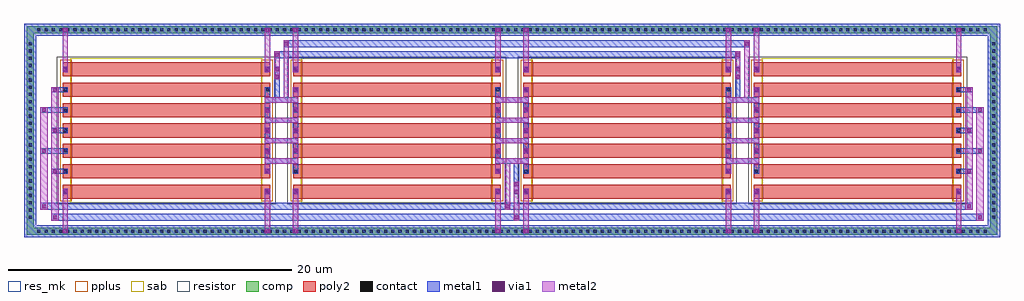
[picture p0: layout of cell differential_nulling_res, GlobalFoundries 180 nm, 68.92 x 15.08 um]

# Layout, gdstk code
import gdstk
lib = gdstk.Library(unit=1e-6, precision=5e-09)
def R(c, l, rs):  # rectangles x0, y0, x1, y1
    for r in rs: c.add(gdstk.rectangle(r[:2], r[2:], *l))
def A(c, l, x, y, w, h, nx, ny, dx, dy):  # array of equal rectangles
    R(c, l, [(x+i*dx, y+j*dy, x+i*dx+w, y+j*dy+h) for i in range(nx) for j in range(ny)])
comp = (22, 0)
poly2 = (30, 0)
pplus = (31, 0)
contact = (33, 0)
metal1 = (34, 0)
via1 = (35, 0)
metal2 = (36, 0)
sab = (49, 0)
resistor = (62, 0)
res_mk = (110, 5)

res_13p37u = lib.new_cell('res_13p37u')
R(res_13p37u, poly2, [(0.4,0.4,15.05,1.4)])
R(res_13p37u, pplus, [(0.22,0.22,1.04,1.58), (14.41,0.22,15.23,1.58)])
R(res_13p37u, contact, [(0.47,0.79,0.69,1.01), (14.76,0.79,14.98,1.01)])
R(res_13p37u, metal1, [(0.39,0.71,0.77,1.09), (14.68,0.71,15.06,1.09)])
R(res_13p37u, sab, [(0.94,0.12,14.51,1.68)])
R(res_13p37u, resistor, [(0,0,15.45,1.8)])
R(res_13p37u, res_mk, [(1.04,0.4,14.41,1.4)])

differential_nulling_res = lib.new_cell('differential_nulling_res')
R(differential_nulling_res, pplus, [(2.55,2.54,3.37,12.54), (16.74,2.54,17.56,12.54), (18.82,2.54,19.64,12.54), (33.01,2.54,33.83,12.54), (35.09,2.54,35.91,12.54), (49.28,2.54,50.1,12.54), (51.36,2.54,52.18,12.54), (65.55,2.54,66.37,12.54)])
A(differential_nulling_res, contact, 0.945, 0.32, 0.22, 0.22, 132, 2, 0.51, 14.22)
A(differential_nulling_res, contact, 0.32, 1.31, 0.22, 0.22, 1, 25, 0, 0.51)
A(differential_nulling_res, contact, 68.38, 1.31, 0.22, 0.22, 1, 25, 0, 0.51)
A(differential_nulling_res, via1, 2.06, 4.53, 0.26, 0.26, 1, 3, 0, 2.88)
A(differential_nulling_res, via1, 17.07, 4.53, 0.26, 0.26, 3, 1, 16.27, 0)
A(differential_nulling_res, via1, 66.6, 4.53, 0.26, 0.26, 1, 3, 0, 2.88)
A(differential_nulling_res, via1, 17.07, 5.97, 0.26, 0.26, 1, 3, 0, 1.44)
A(differential_nulling_res, via1, 19.05, 5.97, 0.26, 0.26, 1, 3, 0, 1.44)
A(differential_nulling_res, via1, 33.34, 5.97, 0.26, 0.26, 1, 3, 0, 1.44)
A(differential_nulling_res, via1, 35.32, 5.97, 0.26, 0.26, 1, 3, 0, 1.44)
A(differential_nulling_res, via1, 49.61, 5.97, 0.26, 0.26, 1, 3, 0, 1.44)
A(differential_nulling_res, via1, 51.59, 5.97, 0.26, 0.26, 1, 3, 0, 1.44)
A(differential_nulling_res, via1, 19.05, 10.29, 0.26, 0.26, 3, 1, 16.27, 0)
R(differential_nulling_res, via1, [(2.78,0.3,3.04,0.56), (17.07,0.3,17.33,0.56), (19.05,0.3,19.31,0.56), (33.34,0.3,33.6,0.56), (35.32,0.3,35.58,0.56), (49.61,0.3,49.87,0.56), (51.59,0.3,51.85,0.56), (65.88,0.3,66.14,0.56), (2.055,1.28,2.315,1.54), (34.66,1.28,34.92,1.54), (67.38,1.28,67.64,1.54), (1.28,2.06,1.54,2.32), (34,2.06,34.26,2.32), (66.605,2.06,66.865,2.32), (2.78,3.09,3.04,3.35), (17.07,3.09,17.33,3.35), (19.05,3.09,19.31,3.35), (33.34,3.09,33.6,3.35), (34.66,3.09,34.92,3.35), (35.32,3.09,35.58,3.35), (49.61,3.09,49.87,3.35), (51.59,3.09,51.85,3.35), (65.88,3.09,66.14,3.35), (34.66,3.61,34.92,3.87), (1.28,5.97,1.54,6.23), (67.38,5.97,67.64,6.23), (1.28,8.85,1.54,9.11), (67.38,8.85,67.64,9.11), (17.73,11.21,17.99,11.47), (50.27,11.21,50.53,11.47), (2.78,11.73,3.04,11.99), (17.07,11.73,17.33,11.99), (17.73,11.73,17.99,11.99), (19.05,11.73,19.31,11.99), (33.34,11.73,33.6,11.99), (35.32,11.73,35.58,11.99), (49.61,11.73,49.87,11.99), (50.27,11.73,50.53,11.99), (51.59,11.73,51.85,11.99), (65.88,11.73,66.14,11.99), (17.73,12.76,17.99,13.02), (50.27,12.76,50.53,13.02), (18.39,13.54,18.65,13.8), (50.93,13.54,51.19,13.8), (2.78,14.52,3.04,14.78), (17.07,14.52,17.33,14.78), (19.05,14.52,19.31,14.78), (33.34,14.52,33.6,14.78), (35.32,14.52,35.58,14.78), (49.61,14.52,49.87,14.78), (51.59,14.52,51.85,14.78), (65.88,14.52,66.14,14.78)])
differential_nulling_res.add(gdstk.FlexPath([(18.33,13.67),(51.25,13.67)], 0.5, ends="flush", simple_path=True, layer=34, datatype=0))  # metal1
differential_nulling_res.add(gdstk.FlexPath([(17.67,12.89),(50.59,12.89)], 0.5, ends="flush", simple_path=True, layer=34, datatype=0))  # metal1
differential_nulling_res.add(gdstk.FlexPath([(35.45,4.85),(35.45,5.38),(33.47,5.38),(33.47,5.91)], 0.38, ends="flush", simple_path=True, layer=34, datatype=0))  # metal1
differential_nulling_res.add(gdstk.FlexPath([(35.45,6.29),(35.45,6.82),(33.47,6.82),(33.47,7.35)], 0.38, ends="flush", simple_path=True, layer=34, datatype=0))  # metal1
differential_nulling_res.add(gdstk.FlexPath([(0.86,14.65),(68.49,14.65),(68.49,0.43),(0.43,0.43),(0.43,15.08)], 0.86, ends="flush", simple_path=True, layer=34, datatype=0))  # metal1
differential_nulling_res.add(gdstk.FlexPath([(1.16,2.19),(66.98,2.19)], 0.5, ends="flush", simple_path=True, layer=34, datatype=0))  # metal1
differential_nulling_res.add(gdstk.FlexPath([(1.94,1.41),(67.76,1.41)], 0.5, ends="flush", simple_path=True, layer=34, datatype=0))  # metal1
differential_nulling_res.add(gdstk.FlexPath([(35.45,7.73),(35.45,8.26),(33.47,8.26),(33.47,8.79)], 0.38, ends="flush", simple_path=True, layer=34, datatype=0))  # metal1
differential_nulling_res.add(gdstk.FlexPath([(35.45,9.17),(35.45,9.7),(33.47,9.7),(33.47,10.23)], 0.38, ends="flush", simple_path=True, layer=34, datatype=0))  # metal1
differential_nulling_res.add(gdstk.FlexPath([(19.18,4.85),(19.18,5.38),(17.2,5.38),(17.2,5.91)], 0.38, ends="flush", simple_path=True, layer=34, datatype=0))  # metal1
differential_nulling_res.add(gdstk.FlexPath([(19.18,6.29),(19.18,6.82),(17.2,6.82),(17.2,7.35)], 0.38, ends="flush", simple_path=True, layer=34, datatype=0))  # metal1
differential_nulling_res.add(gdstk.FlexPath([(19.18,7.73),(19.18,8.26),(17.2,8.26),(17.2,8.79)], 0.38, ends="flush", simple_path=True, layer=34, datatype=0))  # metal1
differential_nulling_res.add(gdstk.FlexPath([(19.18,9.17),(19.18,9.7),(17.2,9.7),(17.2,10.23)], 0.38, ends="flush", simple_path=True, layer=34, datatype=0))  # metal1
differential_nulling_res.add(gdstk.FlexPath([(51.72,4.85),(51.72,5.38),(49.74,5.38),(49.74,5.91)], 0.38, ends="flush", simple_path=True, layer=34, datatype=0))  # metal1
differential_nulling_res.add(gdstk.FlexPath([(51.72,6.29),(51.72,6.82),(49.74,6.82),(49.74,7.35)], 0.38, ends="flush", simple_path=True, layer=34, datatype=0))  # metal1
differential_nulling_res.add(gdstk.FlexPath([(51.72,7.73),(51.72,8.26),(49.74,8.26),(49.74,8.79)], 0.38, ends="flush", simple_path=True, layer=34, datatype=0))  # metal1
differential_nulling_res.add(gdstk.FlexPath([(51.72,9.17),(51.72,9.7),(49.74,9.7),(49.74,10.23)], 0.38, ends="flush", simple_path=True, layer=34, datatype=0))  # metal1
differential_nulling_res.add(gdstk.FlexPath([(66.2,6.1),(67.76,6.1)], 0.38, ends="flush", simple_path=True, layer=34, datatype=0))  # metal1
differential_nulling_res.add(gdstk.FlexPath([(66.2,7.54),(66.98,7.54)], 0.38, ends="flush", simple_path=True, layer=34, datatype=0))  # metal1
differential_nulling_res.add(gdstk.FlexPath([(66.2,8.98),(67.76,8.98)], 0.38, ends="flush", simple_path=True, layer=34, datatype=0))  # metal1
differential_nulling_res.add(gdstk.FlexPath([(66.2,10.42),(66.98,10.42)], 0.38, ends="flush", simple_path=True, layer=34, datatype=0))  # metal1
differential_nulling_res.add(gdstk.FlexPath([(66.2,4.66),(66.98,4.66)], 0.38, ends="flush", simple_path=True, layer=34, datatype=0))  # metal1
differential_nulling_res.add(gdstk.FlexPath([(2.72,10.42),(1.94,10.42)], 0.38, ends="flush", simple_path=True, layer=34, datatype=0))  # metal1
differential_nulling_res.add(gdstk.FlexPath([(2.72,8.98),(1.16,8.98)], 0.38, ends="flush", simple_path=True, layer=34, datatype=0))  # metal1
differential_nulling_res.add(gdstk.FlexPath([(2.72,7.54),(1.94,7.54)], 0.38, ends="flush", simple_path=True, layer=34, datatype=0))  # metal1
differential_nulling_res.add(gdstk.FlexPath([(2.72,6.1),(1.16,6.1)], 0.38, ends="flush", simple_path=True, layer=34, datatype=0))  # metal1
differential_nulling_res.add(gdstk.FlexPath([(2.72,4.66),(1.94,4.66)], 0.38, ends="flush", simple_path=True, layer=34, datatype=0))  # metal1
differential_nulling_res.add(gdstk.FlexPath([(34.79,3.03),(34.79,5.19)], 0.38, ends="flush", simple_path=True, layer=34, datatype=0))  # metal1
differential_nulling_res.add(gdstk.FlexPath([(50.4,12.05),(50.4,9.89)], 0.38, ends="flush", simple_path=True, layer=34, datatype=0))  # metal1
differential_nulling_res.add(gdstk.FlexPath([(17.86,12.05),(17.86,9.89)], 0.38, ends="flush", simple_path=True, layer=34, datatype=0))  # metal1
differential_nulling_res.add(gdstk.FlexPath([(0.86,14.65),(68.49,14.65),(68.49,0.43),(0.43,0.43),(0.43,15.08)], 0.86, ends="flush", simple_path=True, layer=31, datatype=0))  # pplus
differential_nulling_res.add(gdstk.FlexPath([(0.68,14.65),(68.49,14.65),(68.49,0.43),(0.43,0.43),(0.43,14.9)], 0.5, ends="flush", simple_path=True, layer=22, datatype=0))  # comp
differential_nulling_res.add(gdstk.FlexPath([(2.19,10.61),(2.19,1.16)], 0.5, ends="flush", simple_path=True, layer=36, datatype=0))  # metal2
differential_nulling_res.add(gdstk.FlexPath([(1.41,9.17),(1.41,1.94)], 0.5, ends="flush", simple_path=True, layer=36, datatype=0))  # metal2
differential_nulling_res.add(gdstk.FlexPath([(17.86,11.15),(17.86,13.14)], 0.38, ends="flush", simple_path=True, layer=36, datatype=0))  # metal2
differential_nulling_res.add(gdstk.FlexPath([(34.13,5.19),(34.13,1.94)], 0.38, ends="flush", simple_path=True, layer=36, datatype=0))  # metal2
differential_nulling_res.add(gdstk.FlexPath([(34.79,3.93),(34.79,1.16)], 0.38, ends="flush", simple_path=True, layer=36, datatype=0))  # metal2
differential_nulling_res.add(gdstk.FlexPath([(66.73,10.61),(66.73,1.94)], 0.5, ends="flush", simple_path=True, layer=36, datatype=0))  # metal2
differential_nulling_res.add(gdstk.FlexPath([(67.51,9.17),(67.51,1.16)], 0.5, ends="flush", simple_path=True, layer=36, datatype=0))  # metal2
differential_nulling_res.add(gdstk.FlexPath([(51.72,11.67),(51.72,14.79)], 0.38, ends="flush", simple_path=True, layer=36, datatype=0))  # metal2
differential_nulling_res.add(gdstk.FlexPath([(49.74,11.67),(49.74,14.79)], 0.38, ends="flush", simple_path=True, layer=36, datatype=0))  # metal2
differential_nulling_res.add(gdstk.FlexPath([(35.45,11.67),(35.45,14.79)], 0.38, ends="flush", simple_path=True, layer=36, datatype=0))  # metal2
differential_nulling_res.add(gdstk.FlexPath([(33.47,11.67),(33.47,14.79)], 0.38, ends="flush", simple_path=True, layer=36, datatype=0))  # metal2
differential_nulling_res.add(gdstk.FlexPath([(2.91,11.67),(2.91,14.79)], 0.38, ends="flush", simple_path=True, layer=36, datatype=0))  # metal2
differential_nulling_res.add(gdstk.FlexPath([(19.18,11.67),(19.18,14.79)], 0.38, ends="flush", simple_path=True, layer=36, datatype=0))  # metal2
differential_nulling_res.add(gdstk.FlexPath([(17.2,11.67),(17.2,14.79)], 0.38, ends="flush", simple_path=True, layer=36, datatype=0))  # metal2
differential_nulling_res.add(gdstk.FlexPath([(19.18,3.41),(19.18,0.29)], 0.38, ends="flush", simple_path=True, layer=36, datatype=0))  # metal2
differential_nulling_res.add(gdstk.FlexPath([(17.2,3.41),(17.2,0.29)], 0.38, ends="flush", simple_path=True, layer=36, datatype=0))  # metal2
differential_nulling_res.add(gdstk.FlexPath([(35.45,3.41),(35.45,0.29)], 0.38, ends="flush", simple_path=True, layer=36, datatype=0))  # metal2
differential_nulling_res.add(gdstk.FlexPath([(33.47,3.41),(33.47,0.29)], 0.38, ends="flush", simple_path=True, layer=36, datatype=0))  # metal2
differential_nulling_res.add(gdstk.FlexPath([(51.72,3.41),(51.72,0.29)], 0.38, ends="flush", simple_path=True, layer=36, datatype=0))  # metal2
differential_nulling_res.add(gdstk.FlexPath([(49.74,3.41),(49.74,0.29)], 0.38, ends="flush", simple_path=True, layer=36, datatype=0))  # metal2
differential_nulling_res.add(gdstk.FlexPath([(66.01,3.41),(66.01,0.29)], 0.38, ends="flush", simple_path=True, layer=36, datatype=0))  # metal2
differential_nulling_res.add(gdstk.FlexPath([(2.91,3.41),(2.91,0.29)], 0.38, ends="flush", simple_path=True, layer=36, datatype=0))  # metal2
differential_nulling_res.add(gdstk.FlexPath([(66.01,11.67),(66.01,14.79)], 0.38, ends="flush", simple_path=True, layer=36, datatype=0))  # metal2
differential_nulling_res.add(gdstk.FlexPath([(18.52,11.8),(18.52,13.92)], 0.38, ends="flush", simple_path=True, layer=36, datatype=0))  # metal2
differential_nulling_res.add(gdstk.FlexPath([(33.47,4.47),(33.47,5.38),(35.45,5.38),(35.45,6.29)], 0.38, ends="flush", simple_path=True, layer=36, datatype=0))  # metal2
differential_nulling_res.add(gdstk.FlexPath([(33.47,5.91),(33.47,6.82),(35.45,6.82),(35.45,7.73)], 0.38, ends="flush", simple_path=True, layer=36, datatype=0))  # metal2
differential_nulling_res.add(gdstk.FlexPath([(33.47,7.35),(33.47,8.26),(35.45,8.26),(35.45,9.17)], 0.38, ends="flush", simple_path=True, layer=36, datatype=0))  # metal2
differential_nulling_res.add(gdstk.FlexPath([(33.47,8.79),(33.47,9.7),(35.45,9.7),(35.45,10.61)], 0.38, ends="flush", simple_path=True, layer=36, datatype=0))  # metal2
differential_nulling_res.add(gdstk.FlexPath([(17.2,4.47),(17.2,5.38),(19.18,5.38),(19.18,6.29)], 0.38, ends="flush", simple_path=True, layer=36, datatype=0))  # metal2
differential_nulling_res.add(gdstk.FlexPath([(17.2,5.91),(17.2,6.82),(19.18,6.82),(19.18,7.73)], 0.38, ends="flush", simple_path=True, layer=36, datatype=0))  # metal2
differential_nulling_res.add(gdstk.FlexPath([(17.2,7.35),(17.2,8.26),(19.18,8.26),(19.18,9.17)], 0.38, ends="flush", simple_path=True, layer=36, datatype=0))  # metal2
differential_nulling_res.add(gdstk.FlexPath([(17.2,8.79),(17.2,9.7),(19.18,9.7),(19.18,10.61)], 0.38, ends="flush", simple_path=True, layer=36, datatype=0))  # metal2
differential_nulling_res.add(gdstk.FlexPath([(49.74,4.47),(49.74,5.38),(51.72,5.38),(51.72,6.29)], 0.38, ends="flush", simple_path=True, layer=36, datatype=0))  # metal2
differential_nulling_res.add(gdstk.FlexPath([(49.74,5.91),(49.74,6.82),(51.72,6.82),(51.72,7.73)], 0.38, ends="flush", simple_path=True, layer=36, datatype=0))  # metal2
differential_nulling_res.add(gdstk.FlexPath([(49.74,7.35),(49.74,8.26),(51.72,8.26),(51.72,9.17)], 0.38, ends="flush", simple_path=True, layer=36, datatype=0))  # metal2
differential_nulling_res.add(gdstk.FlexPath([(49.74,8.79),(49.74,9.7),(51.72,9.7),(51.72,10.61)], 0.38, ends="flush", simple_path=True, layer=36, datatype=0))  # metal2
differential_nulling_res.add(gdstk.FlexPath([(50.4,11.15),(50.4,13.14)], 0.38, ends="flush", simple_path=True, layer=36, datatype=0))  # metal2
differential_nulling_res.add(gdstk.FlexPath([(51.06,11.8),(51.06,9.89)], 0.38, ends="flush", simple_path=True, layer=36, datatype=0))  # metal2
differential_nulling_res.add(gdstk.FlexPath([(18.52,11.8),(18.52,9.89)], 0.38, ends="flush", simple_path=True, layer=36, datatype=0))  # metal2
differential_nulling_res.add(gdstk.FlexPath([(51.06,11.8),(51.06,13.92)], 0.38, ends="flush", simple_path=True, layer=36, datatype=0))  # metal2
differential_nulling_res.add(gdstk.Reference(res_13p37u, (2.33,10.96)))
differential_nulling_res.add(gdstk.Reference(res_13p37u, (18.6,10.96)))
differential_nulling_res.add(gdstk.Reference(res_13p37u, (2.33,9.52)))
differential_nulling_res.add(gdstk.Reference(res_13p37u, (18.6,9.52)))
differential_nulling_res.add(gdstk.Reference(res_13p37u, (18.6,8.08)))
differential_nulling_res.add(gdstk.Reference(res_13p37u, (2.33,8.08)))
differential_nulling_res.add(gdstk.Reference(res_13p37u, (18.6,6.64)))
differential_nulling_res.add(gdstk.Reference(res_13p37u, (2.33,5.2)))
differential_nulling_res.add(gdstk.Reference(res_13p37u, (18.6,5.2)))
differential_nulling_res.add(gdstk.Reference(res_13p37u, (2.33,6.64)))
differential_nulling_res.add(gdstk.Reference(res_13p37u, (2.33,3.76)))
differential_nulling_res.add(gdstk.Reference(res_13p37u, (18.6,3.76)))
differential_nulling_res.add(gdstk.Reference(res_13p37u, (2.33,2.32)))
differential_nulling_res.add(gdstk.Reference(res_13p37u, (18.6,2.32)))
differential_nulling_res.add(gdstk.Reference(res_13p37u, (34.87,2.32)))
differential_nulling_res.add(gdstk.Reference(res_13p37u, (34.87,3.76)))
differential_nulling_res.add(gdstk.Reference(res_13p37u, (34.87,5.2)))
differential_nulling_res.add(gdstk.Reference(res_13p37u, (34.87,6.64)))
differential_nulling_res.add(gdstk.Reference(res_13p37u, (34.87,8.08)))
differential_nulling_res.add(gdstk.Reference(res_13p37u, (34.87,9.52)))
differential_nulling_res.add(gdstk.Reference(res_13p37u, (34.87,10.96)))
differential_nulling_res.add(gdstk.Reference(res_13p37u, (51.14,2.32)))
differential_nulling_res.add(gdstk.Reference(res_13p37u, (51.14,3.76)))
differential_nulling_res.add(gdstk.Reference(res_13p37u, (51.14,5.2)))
differential_nulling_res.add(gdstk.Reference(res_13p37u, (51.14,6.64)))
differential_nulling_res.add(gdstk.Reference(res_13p37u, (51.14,8.08)))
differential_nulling_res.add(gdstk.Reference(res_13p37u, (51.14,9.52)))
differential_nulling_res.add(gdstk.Reference(res_13p37u, (51.14,10.96)))

lib.write_gds('differential_nulling_res.gds')
